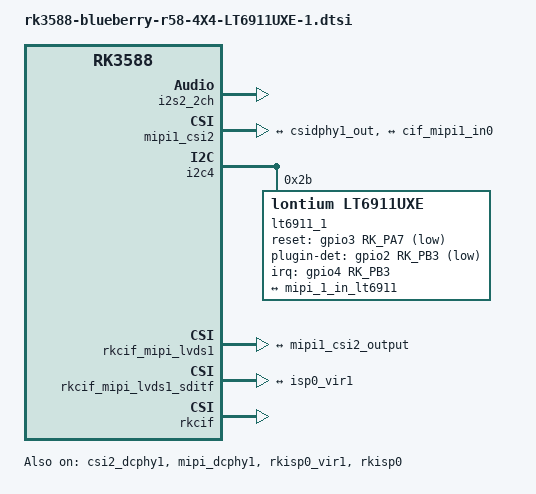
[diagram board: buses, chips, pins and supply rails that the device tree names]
// SPDX-License-Identifier: (GPL-2.0+ OR MIT)
/*
 * Copyright (c) 2021 Rockchip Electronics Co., Ltd.
 *
 */

#include "dt-bindings/usb/pd.h"

/* lt6911 01 hdmi in */
/ {
	lt6911_1_dc: lt6911-1-dc {
		compatible = "rockchip,dummy-codec";
		#sound-dai-cells = <0>;
	};

	lt6911_01-sound {
		compatible = "simple-audio-card";
		simple-audio-card,format = "i2s";
		simple-audio-card,name = "rockchip,lt6911-01";
		simple-audio-card,bitclock-master = <&dailink1_master>;
		simple-audio-card,frame-master = <&dailink1_master>;
		status = "okay";
		simple-audio-card,cpu {
		sound-dai = <&i2s2_2ch>;
		};
		dailink1_master: simple-audio-card,codec {
			sound-dai = <&lt6911_1_dc>;
		};
	};
};


&i2s2_2ch {
	status = "okay";
	pinctrl-0 = <&i2s2m1_sdi>;
	rockchip,clk-trcm = <1>;
};

&mipi1_csi2 {
	status = "okay";

	ports {
		#address-cells = <1>;
		#size-cells = <0>;

		port@0 {
			reg = <0>;
			#address-cells = <1>;
			#size-cells = <0>;

			mipi1_csi2_input: endpoint@1 {
				reg = <1>;
				remote-endpoint = <&csidphy1_out>;
			};
		};

		port@1 {
			reg = <1>;
			#address-cells = <1>;
			#size-cells = <0>;

			mipi1_csi2_output: endpoint@0 {
				reg = <0>;
				remote-endpoint = <&cif_mipi1_in0>;
			};
		};
	};
};

&csi2_dcphy1 {
	status = "okay";

	ports {
		#address-cells = <1>;
		#size-cells = <0>;
		port@0 {
			reg = <0>;
			#address-cells = <1>;
			#size-cells = <0>;

			mipi_1_in_lt6911: endpoint@1 {
				reg = <1>;
				remote-endpoint = <&lt6911_1_out>;
				data-lanes = <1 2 3 4>;
			};
		};
		port@1 {
			reg = <1>;
			#address-cells = <1>;
			#size-cells = <0>;

			csidphy1_out: endpoint@0 {
				reg = <0>;
				remote-endpoint = <&mipi1_csi2_input>;
			};
		};
	};
};

&mipi_dcphy1 {
	status = "okay";
};

&i2c4 {
	pinctrl-names = "default";
	pinctrl-0 = <&i2c4m0_xfer>;
	status = "okay";

	lt6911_1:lt6911_1@2b {
		compatible = "lontium,lt6911uxe";
		status = "okay";
		reg = <0x2b>;
		clocks = <&ext_cam_clk>;
		clock-names = "xvclk";
		power-domains = <&power RK3588_PD_VI>;
		pinctrl-names = "default";
		pinctrl-0 = <&lt6911uxc_1_pin>;
		interrupt-parent = <&gpio4>;
		interrupts = <RK_PB3 IRQ_TYPE_LEVEL_LOW>;
		//power-gpios = <&gpio3 RK_PB2 GPIO_ACTIVE_HIGH>;
		reset-gpios = <&gpio3 RK_PA7 GPIO_ACTIVE_LOW>;
		plugin-det-gpios = <&gpio2 RK_PB3 GPIO_ACTIVE_LOW>;
		rockchip,camera-module-index = <0>;
		rockchip,camera-module-facing = "back";
		rockchip,camera-module-name = "HDMI-MIPI2";
		rockchip,camera-module-lens-name = "LT6911UXE";
		port {
			lt6911_1_out: endpoint {
				remote-endpoint = <&mipi_1_in_lt6911>;
				data-lanes = <1 2 3 4>;
			};
		};
	};
};


&rkcif_mipi_lvds1 {
	status = "okay";

	port {
		cif_mipi1_in0: endpoint {
			remote-endpoint = <&mipi1_csi2_output>;
		};
	};
};

&rkcif_mipi_lvds1_sditf {
	status = "okay";

	port {
		mipi_lvds1_sditf: endpoint {
			remote-endpoint = <&isp0_vir1>;
		};
	};
};

&rkisp0_vir1 {
	status = "okay";

	port {
		#address-cells = <1>;
		#size-cells = <0>;

		isp0_vir1: endpoint@0 {
			reg = <0>;
			remote-endpoint = <&mipi_lvds1_sditf>;
		};
	};
};

/* lt6911 01 hdmi in end*/

&rkcif {
	status = "okay";
};

&rkcif_mmu {
	status = "okay";
};

&rkisp0 {
	status = "okay";
};

&isp0_mmu {
	status = "okay";
};

&pinctrl {
	hdmiin {
		lt6911uxc_1_pin: lt6911uxc-1-pin {
			rockchip,pins = <2 RK_PB3 RK_FUNC_GPIO &pcfg_pull_none>,// HDMIRX_DET_LT6911
					<4 RK_PB3 RK_FUNC_GPIO &pcfg_pull_none>,        // LT6911UXC_INT
					<3 RK_PA7 RK_FUNC_GPIO &pcfg_pull_none>;        // LT6911_RST
			};
		};
};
